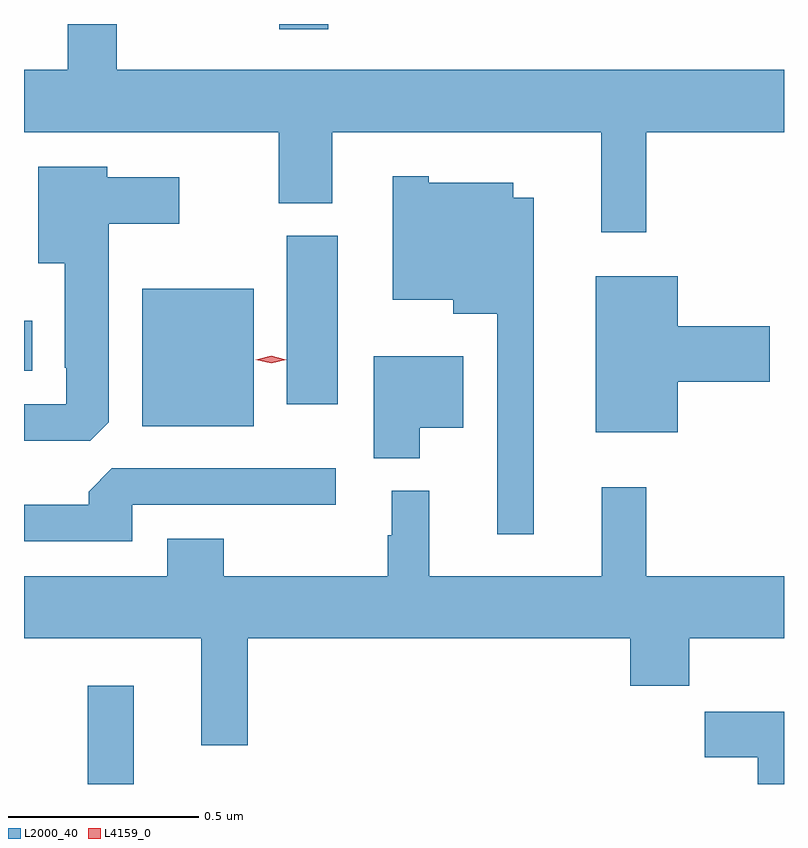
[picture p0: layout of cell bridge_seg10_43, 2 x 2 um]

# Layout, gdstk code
import gdstk
lib = gdstk.Library(unit=1e-6, precision=1e-09)
def R(c, l, rs):  # rectangles x0, y0, x1, y1
    for r in rs: c.add(gdstk.rectangle(r[:2], r[2:], *l))
def P(c, l, *ps):  # polygons
    for p in ps: c.add(gdstk.Polygon(p, *l))
L2000_40 = (2000, 40)
L4159_0 = (4159, 0)

bridge_seg10_43 = lib.new_cell('bridge_seg10_43')
R(bridge_seg10_43, L2000_40, [(921.402,1303.929,921.523,1304.188), (921.545,1304.87,921.838,1305.232), (921.926,1304.928,922.06,1305.372), (921.234,1305.017,921.256,1305.148), (921.906,1305.915,922.034,1305.929)])
P(bridge_seg10_43, L2000_40, [(921.478,1305.929),(921.349,1305.929),(921.349,1305.808),(921.234,1305.808),(921.234,1305.644),(921.905,1305.644),(921.905,1305.457),(922.045,1305.457),(922.045,1305.644),(922.753,1305.644),(922.753,1305.381),(922.871,1305.381),(922.871,1305.644),(923.234,1305.644),(923.234,1305.808),(921.478,1305.808)],
  [(921.457,1304.881),(921.457,1305.404),(921.643,1305.404),(921.643,1305.526),(921.453,1305.526),(921.453,1305.553),(921.272,1305.553),(921.272,1305.299),(921.341,1305.299),(921.341,1305.025),(921.345,1305.025),(921.345,1304.928),(921.234,1304.928),(921.234,1304.832),(921.408,1304.832)],
  [(922.576,1305.472),(922.522,1305.472),(922.522,1305.511),(922.299,1305.511),(922.299,1305.529),(922.205,1305.529),(922.205,1305.203),(922.364,1305.203),(922.364,1305.167),(922.479,1305.167),(922.479,1304.586),(922.576,1304.586)],
  [(922.954,1304.987),(923.197,1304.987),(923.197,1305.134),(922.954,1305.134),(922.954,1305.265),(922.739,1305.265),(922.739,1304.855),(922.954,1304.855)],
  [(922.276,1304.867),(922.39,1304.867),(922.39,1305.055),(922.154,1305.055),(922.154,1304.786),(922.276,1304.786)],
  [(921.519,1304.664),(922.054,1304.664),(922.054,1304.76),(921.465,1304.76),(921.404,1304.698),(921.404,1304.664),(921.234,1304.664),(921.234,1304.568),(921.519,1304.568)],
  [(921.823,1304.312),(922.829,1304.312),(922.829,1304.188),(922.985,1304.188),(922.985,1304.312),(923.234,1304.312),(923.234,1304.476),(922.871,1304.476),(922.871,1304.71),(922.754,1304.71),(922.754,1304.476),(922.301,1304.476),(922.301,1304.701),(922.202,1304.701),(922.202,1304.583),(922.191,1304.583),(922.191,1304.476),(921.759,1304.476),(921.759,1304.575),(921.611,1304.575),(921.611,1304.476),(921.234,1304.476),(921.234,1304.312),(921.701,1304.312),(921.701,1304.031),(921.823,1304.031)],
  [(923.234,1304.119),(923.026,1304.119),(923.026,1304),(923.165,1304),(923.165,1303.929),(923.234,1303.929)])
P(bridge_seg10_43, L4159_0, [(921.884,1305.036),(921.844,1305.046),(921.844,1305.046),(921.844,1305.046),(921.884,1305.056),(921.924,1305.046),(921.924,1305.046),(921.924,1305.046)])

lib.write_gds('bridge_seg10_43.gds')
